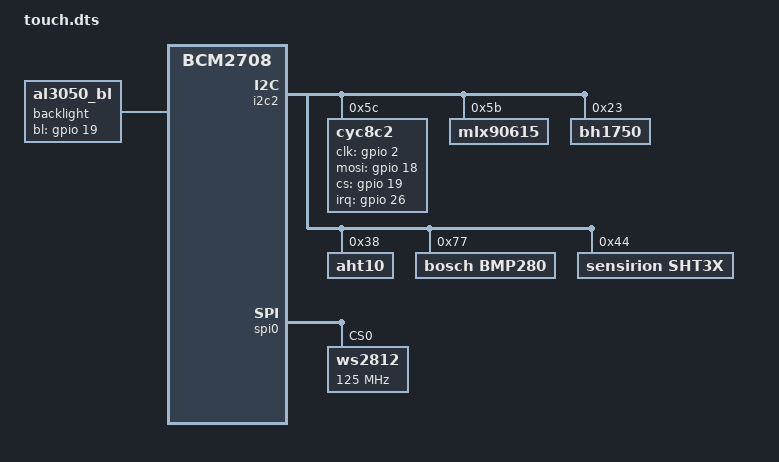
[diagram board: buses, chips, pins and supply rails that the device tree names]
/dts-v1/;
/plugin/;

/{
compatible = "brcm,bcm2835", "brcm,bcm2708";


        fragment@0 {
                target = <&spi0_pins>;
                __overlay__ {
                        brcm,pins = <10>;
                        brcm,function = <4>;
                };
        };


        fragment@1 {
                target = <&spi0_cs_pins>;
                frag1: __overlay__ {
                        brcm,pins = <>;
                        brcm,function = <6>; /* output */
                };
        };


	fragment@2 {
		target = <&fb>;
		__overlay__ {
			pinctrl-names = "default";
			pinctrl-0 = <&dpi18_pins>;
		};
	};

	fragment@3 {
		target = <&vc4>;
		__overlay__ {
			pinctrl-names = "default";
			pinctrl-0 = <&dpi18_pins>;
		};
	};




	fragment@4 {
        target = <&i2c2>;

        __overlay__ {
            #address-cells = <1>;
            #size-cells = <0>;
            status = "okay";
            cyc8c2: cyc8c2@5c {
                compatible = "cyc8c2";
                reg = <0x5c>;
                interrupt-parent = <&gpio>;
                interrupts = <26 2>;
                clk-gpio = <&gpio 2 0>;
                mosi-gpio = <&gpio 18 0>;
                cs-gpio = <&gpio 19 0>;
		sensivity = <0x20>;
                touchscreen-inverted-x;
                touchscreen-inverted-y;


            };
        };
    };

 fragment@5 {
        target = <&i2c2>;
        __overlay__ {
            #address-cells = <1>;
            #size-cells = <0>;
            status = "okay";
            mlx90615@5b {
                compatible = "mlx90615";
                reg = <0x5b>;

            };
        };
    };


   fragment@6 {
        target = <&spidev0>;
        __overlay__ {
            status = "disabled";
         };
    };

   fragment@7 {
        target = <&spidev1>;
        __overlay__ {
            status = "disabled";
        };
    };

   fragment@8 {
        target = <&i2c2>;
        __overlay__ {
            status = "okay";
        };
    };



	fragment@9 {
		target = <&spi0>;
		__overlay__ {
			/* needed to avoid dtc warning */
			#address-cells = <1>;
			#size-cells = <0>;
			status = "okay";
			cs-gpios = <>;
			ws2812@0{
				compatible = "ws2812";
				reg = <0>;
                                spi-max-frequency = <125000000>;
				num-leds = <1>;
				color-order= "GRB"; 
				is-zero-lite = <1>;
				#address-cells = <1>;
	                        #size-cells = <0>;

			};
		};



	};

       fragment@10 {
                target = <&gpio>;
                __overlay__ {

                        dpi18_pins: dpi18_pins {
                                brcm,pins = <0 1 2 3 4 5 6 7 8 9
                                             12 13 14 15 16 17 20
                                             21 22 23 24 25>; /* no 10, 19, 27 */
                                brcm,function = <6>; /* alt2 */
                                brcm,pull = <0>; /* no pull */
                        };


                };
        };


fragment@11 {
		target-path = "/soc";
		__overlay__ {
			backlight: backlight {
				compatible = "al3050_bl";
				bl-gpios = <&gpio 19 0>; /* GPIO_ACTIVE_HIGH */
				fb = <0xdeadbeef>;
                                rfa_en = <1>;		
			};
		};
	};


  fragment@12 {
        target = <&i2c2>;
        __overlay__ {
            #address-cells = <1>;
            #size-cells = <0>;
            status = "okay";
            bh1750@23 {
                compatible = "bh1750";
                reg = <0x23>;

            };
        };
    };

    fragment@13 {
        target = <&i2c2>;
        __overlay__ {
            #address-cells = <1>;
            #size-cells = <0>;
            status = "okay";
            aht10@38 {
                compatible = "aht10";
                reg = <0x38>;

            };
        };
    };

    fragment@14 {
        target = <&i2c2>;
        __overlay__ {
            #address-cells = <1>;
            #size-cells = <0>;
            status = "okay";
            bmp280@77 {
                compatible = "bosch,bmp280";
                reg = <0x77>;
            };
        };
    };

   fragment@15 {
        target = <&i2c2>;
        __overlay__ {
            #address-cells = <1>;
            #size-cells = <0>;
            status = "okay";
	    sht3x@44 {
            compatible = "sensirion,sht3x";
            reg = <0x44>;
            };
     };
    };


};
